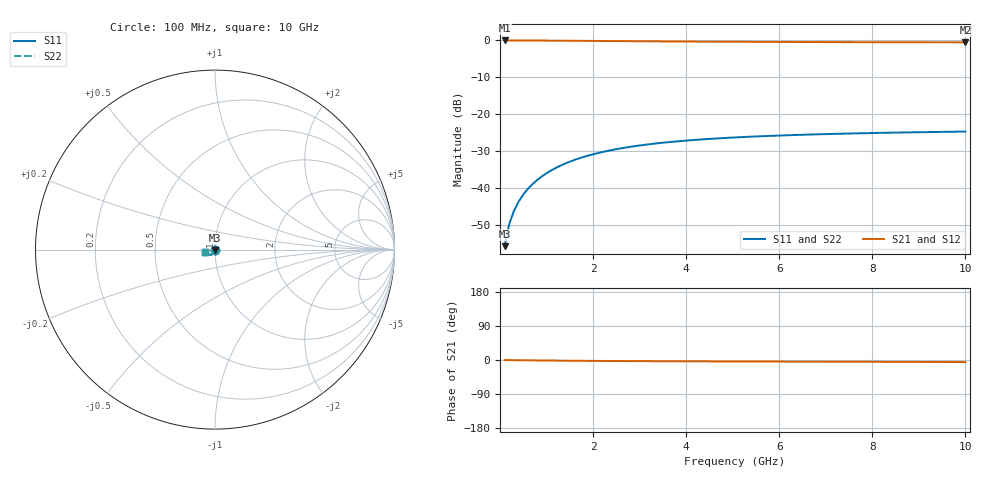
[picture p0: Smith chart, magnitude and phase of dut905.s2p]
! Touchstone file exported from HFSS 2024.1.0
!  File:  C:/UserFiles/LocalFiles/RDL_TSV_Batchsim/temp_TSV1_905_1779944695.aedt
!  Generated:  01:10:40 PM May 28, 2026
!  Design:  TSV1
!  Project:  temp_TSV1_905_1779944695
!  Setup:  Setup1
!  Solution:  Sweep
! Variables:
!  dtsv = 12.73um
!  hbump = 3um
!  htsv = 84.18um
!  lrdl = 252.1521522um
!  p = 40
!  p1 = 49.05um
!  t = 500um
!  trdl = 3um
!  wrdl = 24.89489489um
# GHz S MA R 50.000000
! Terminal data exported
! Port[1] = TSV22_T1
! Port[2] = TSV22_T2
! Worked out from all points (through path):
!   100 points, 100 MHz to 10 GHz, reference 50 ohm
!   highest |S21| = 0.00 dB at 100 MHz (marker M1); lowest = -0.5 dB at 10 GHz (marker M2)
!   lowest |S11| = -55.6 dB at 100 MHz (marker M3), VSWR 1.00, Z = 50 - j0.165 ohm
!   |S11| at or under -10 dB: start of sweep to end of sweep
!   |S22| runs from -55.6 to -24.6 dB; largest |S21 - S12| = 1.1e-14
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0.1  0.001654 -88.4  0.9999 -0.1  0.9999 -0.1  0.001654 -88.4
! Gamma 0 0 0 0
! Port Impedance 50 0 50 0
0.2  0.003306 -91.6  0.9997 -0.3  0.9997 -0.3  0.003306 -91.6
0.3  0.004956 -93.7  0.9994 -0.4  0.9994 -0.4  0.004956 -93.7
0.4  0.006598 -95.6  0.9991 -0.6  0.9991 -0.6  0.006598 -95.6
0.5  0.008228 -97.5  0.9986 -0.7  0.9986 -0.7  0.008228 -97.5
0.6  0.009839 -99.2  0.9981 -0.8  0.9981 -0.8  0.009839 -99.2
0.7  0.01143 -101.0  0.9975 -1.0  0.9975 -1.0  0.01143 -101.0
0.8  0.01299 -102.7  0.9968 -1.1  0.9968 -1.1  0.01299 -102.7
0.9  0.01452 -104.3  0.9961 -1.2  0.9961 -1.2  0.01452 -104.3
1.1  0.01748 -107.5  0.9945 -1.5  0.9945 -1.5  0.01748 -107.5
1.4  0.02165 -112.1  0.9916 -1.8  0.9916 -1.8  0.02165 -112.1
1.6  0.02423 -115.0  0.9896 -2.0  0.9896 -2.0  0.02423 -115.0
1.8  0.02665 -117.7  0.9875 -2.2  0.9875 -2.2  0.02665 -117.7
2.1  0.02998 -121.6  0.9843 -2.4  0.9843 -2.4  0.02998 -121.6
2.5  0.03389 -126.3  0.98 -2.7  0.98 -2.7  0.03389 -126.3
2.9  0.03725 -130.5  0.9759 -3.0  0.9759 -3.0  0.03725 -130.5
3.4  0.04079 -135.2  0.9713 -3.2  0.9713 -3.2  0.04079 -135.2
4.2  0.04526 -141.5  0.9649 -3.6  0.9649 -3.6  0.04526 -141.5
5.1  0.049 -147.3  0.959 -3.9  0.959 -3.9  0.049 -147.3
6.7  0.05353 -155.2  0.9515 -4.4  0.9515 -4.4  0.05353 -155.2
8.4  0.05663 -161.7  0.9461 -4.9  0.9461 -4.9  0.05663 -161.7
10  0.05861 -166.5  0.9426 -5.4  0.9426 -5.4  0.05861 -166.5
